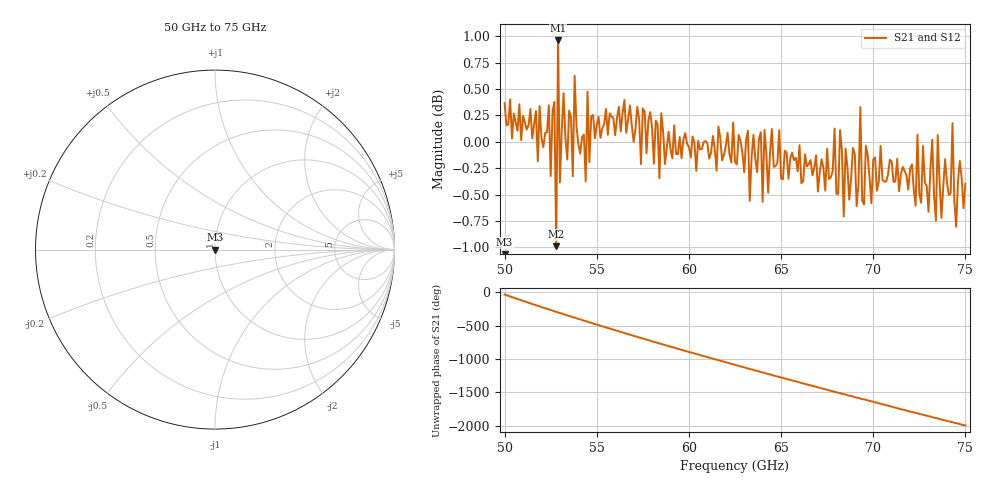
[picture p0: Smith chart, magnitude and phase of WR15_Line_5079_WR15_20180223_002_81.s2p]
# GHZ S RI R 50
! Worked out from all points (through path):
!   251 points, 50 GHz to 75 GHz, reference 50 ohm
!   highest |S21| = 0.96 dB at 52.9 GHz (marker M1); lowest = -1.0 dB at 52.8 GHz (marker M2)
!   lowest |S11| = - dB at 50 GHz (marker M3), VSWR 1.00, Z = 50 - j4.35e-16 ohm
!   |S11| at or under -10 dB: start of sweep to end of sweep
!   |S22| runs from - to - dB; largest |S21 - S12| = 1.4e-15
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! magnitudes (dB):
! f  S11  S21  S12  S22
! 50 GHz  -  0.4  0.4  -
! 52.4 GHz  -  0.3  0.3  -
! 52.5 GHz  -  -0.3  -0.3  -
! 52.7 GHz  -  0.4  0.4  -
! 52.8 GHz  -  -1.0  -1.0  -
! 52.9 GHz  -  1.0  1.0  -
! 53 GHz  -  -0.4  -0.4  -
! 53.2 GHz  -  0.5  0.5  -
! 53.7 GHz  -  -0.3  -0.3  -
! 53.8 GHz  -  0.6  0.6  -
! 54.2 GHz  -  0.0  0.0  -
! 57.9 GHz  -  0.3  0.3  -
! 58.4 GHz  -  -0.3  -0.3  -
! 58.5 GHz  -  0.3  0.3  -
! 62.5 GHz  -  -0.2  -0.2  -
! 66.7 GHz  -  -0.3  -0.3  -
! 68.2 GHz  -  0.1  0.1  -
! 69.1 GHz  -  -0.6  -0.6  -
! 69.3 GHz  -  0.3  0.3  -
! 69.5 GHz  -  -0.6  -0.6  -
! 70.9 GHz  -  -0.2  -0.2  -
! 75 GHz  -  -0.4  -0.4  -
